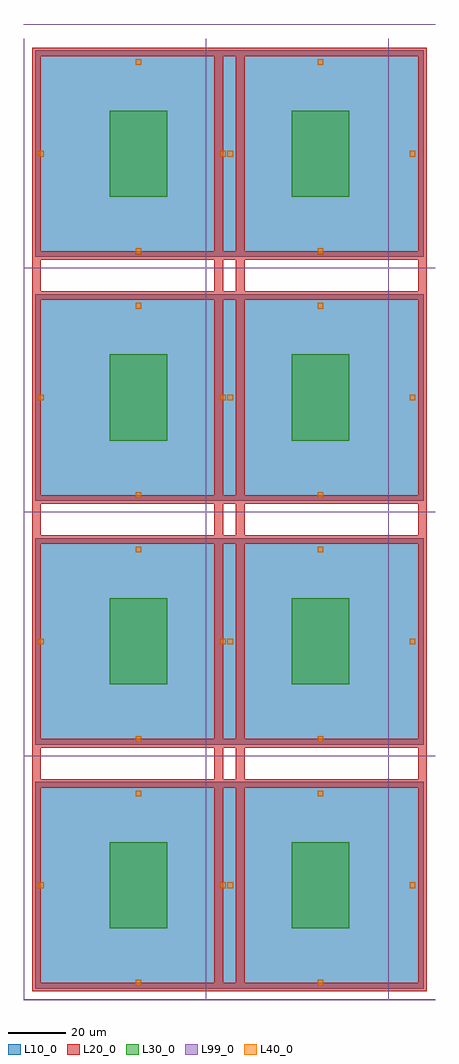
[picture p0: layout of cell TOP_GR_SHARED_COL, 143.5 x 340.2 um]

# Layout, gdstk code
import gdstk
lib = gdstk.Library(unit=1e-6, precision=1e-09)
def R(c, l, rs):  # rectangles x0, y0, x1, y1
    for r in rs: c.add(gdstk.rectangle(r[:2], r[2:], *l))
def A(c, l, x, y, w, h, nx, ny, dx, dy):  # array of equal rectangles
    R(c, l, [(x+i*dx, y+j*dy, x+i*dx+w, y+j*dy+h) for i in range(nx) for j in range(ny)])
L10_0 = (10, 0)
L20_0 = (20, 0)
L30_0 = (30, 0)
L40_0 = (40, 0)
L99_0 = (99, 0)

hv_sw_unit = lib.new_cell('HV_SW_UNIT')
R(hv_sw_unit, L10_0, [(4,4,76,76)])
R(hv_sw_unit, L20_0, [(3,3,77,6), (3,6,6,74), (74,6,77,74), (3,74,77,77)])
R(hv_sw_unit, L30_0, [(30,25,50,55)])
R(hv_sw_unit, L40_0, [(39,5,41,7), (5,39,7,41), (71,39,73,41), (39,71,41,73)])
hv_sw_unit.add(gdstk.Label('D', (42,74), layer=41, texttype=0))
hv_sw_unit.add(gdstk.Label('S', (42,8), layer=41, texttype=0))
hv_sw_unit.add(gdstk.Label('G', (74,42), layer=41, texttype=0))
hv_sw_unit.add(gdstk.Label('B', (8,42), layer=41, texttype=0))

top_gr_shared_col = lib.new_cell('TOP_GR_SHARED_COL')
R(top_gr_shared_col, L20_0, [(3,3,77,6), (66.5,3,140.5,6), (3,6,6,329), (66.5,6,69.5,329), (74,6,77,329), (137.5,6,140.5,329), (3,329,77,332), (66.5,329,140.5,332)])
A(top_gr_shared_col, L99_0, 0, 0, 0.2, 335, 3, 1, 63.5, 0)
A(top_gr_shared_col, L99_0, 0, 0, 143.5, 0.2, 1, 5, 0, 85)
top_gr_shared_col.add(gdstk.Reference(hv_sw_unit, (0,0)))
top_gr_shared_col.add(gdstk.Reference(hv_sw_unit, (63.5,0)))
top_gr_shared_col.add(gdstk.Reference(hv_sw_unit, (0,85)))
top_gr_shared_col.add(gdstk.Reference(hv_sw_unit, (63.5,85)))
top_gr_shared_col.add(gdstk.Reference(hv_sw_unit, (0,170)))
top_gr_shared_col.add(gdstk.Reference(hv_sw_unit, (63.5,170)))
top_gr_shared_col.add(gdstk.Reference(hv_sw_unit, (0,255)))
top_gr_shared_col.add(gdstk.Reference(hv_sw_unit, (63.5,255)))

lib.write_gds('TOP_GR_SHARED_COL.gds')
